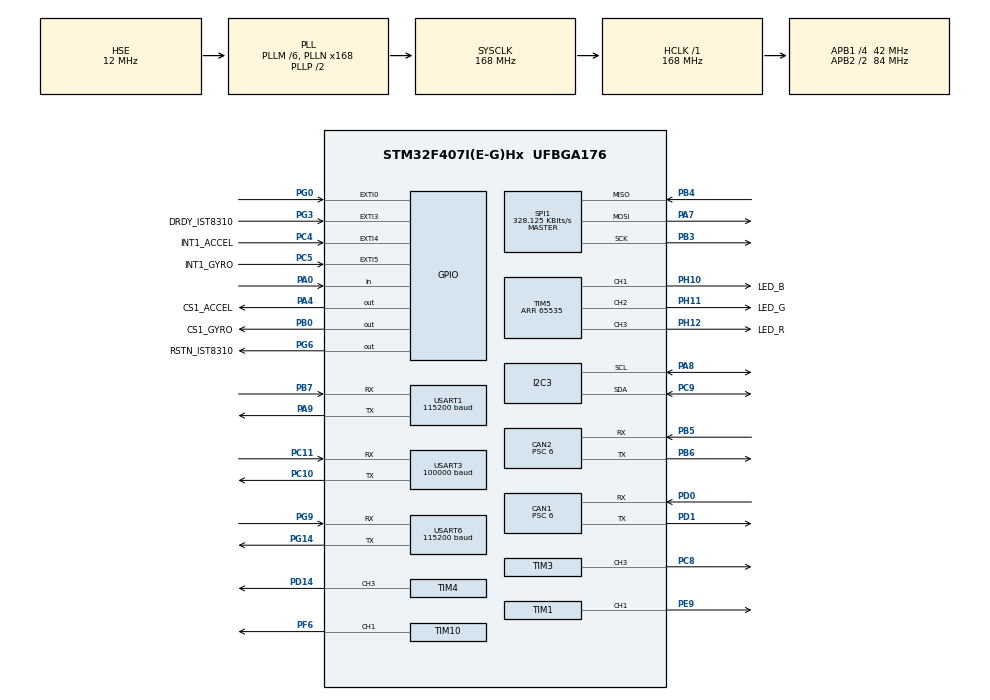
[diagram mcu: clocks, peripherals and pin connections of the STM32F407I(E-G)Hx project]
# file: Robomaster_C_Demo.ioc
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CAN1.BS1=CAN_BS1_3TQ
CAN1.BS2=CAN_BS2_3TQ
CAN1.CalculateBaudRate=1000000
CAN1.CalculateTimeBit=1000
CAN1.CalculateTimeQuantum=142.85714285714286
CAN1.Prescaler=6
CAN2.ABOM=ENABLE
CAN2.AWUM=ENABLE
CAN2.BS1=CAN_BS1_3TQ
CAN2.BS2=CAN_BS2_3TQ
CAN2.CalculateBaudRate=1000000
CAN2.CalculateTimeBit=1000
CAN2.CalculateTimeQuantum=142.85714285714286
CAN2.Prescaler=6
Dma.Request0=USART1_RX
Dma.Request1=USART6_RX
Dma.Request2=USART3_RX
Dma.Request3=USART6_TX
Dma.Request4=USART1_TX
Dma.Request5=SPI1_RX
Dma.Request6=SPI1_TX
Dma.SPI1_RX.5.Direction=DMA_PERIPH_TO_MEMORY
Dma.SPI1_RX.5.FIFOMode=DMA_FIFOMODE_DISABLE
Dma.SPI1_RX.5.Instance=DMA2_Stream2
Dma.SPI1_RX.5.MemDataAlignment=DMA_MDATAALIGN_BYTE
Dma.SPI1_RX.5.MemInc=DMA_MINC_ENABLE
Dma.SPI1_RX.5.Mode=DMA_NORMAL
Dma.SPI1_RX.5.PeriphDataAlignment=DMA_PDATAALIGN_BYTE
Dma.SPI1_RX.5.PeriphInc=DMA_PINC_DISABLE
Dma.SPI1_RX.5.Priority=DMA_PRIORITY_VERY_HIGH
Dma.SPI1_TX.6.Direction=DMA_MEMORY_TO_PERIPH
Dma.SPI1_TX.6.FIFOMode=DMA_FIFOMODE_DISABLE
Dma.SPI1_TX.6.Instance=DMA2_Stream3
Dma.SPI1_TX.6.MemDataAlignment=DMA_MDATAALIGN_BYTE
Dma.SPI1_TX.6.MemInc=DMA_MINC_ENABLE
Dma.SPI1_TX.6.Mode=DMA_NORMAL
Dma.SPI1_TX.6.PeriphDataAlignment=DMA_PDATAALIGN_BYTE
Dma.SPI1_TX.6.PeriphInc=DMA_PINC_DISABLE
Dma.SPI1_TX.6.Priority=DMA_PRIORITY_HIGH
Dma.USART1_RX.0.Direction=DMA_PERIPH_TO_MEMORY
Dma.USART1_RX.0.FIFOMode=DMA_FIFOMODE_DISABLE
Dma.USART1_RX.0.Instance=DMA2_Stream5
Dma.USART1_RX.0.MemDataAlignment=DMA_MDATAALIGN_BYTE
Dma.USART1_RX.0.MemInc=DMA_MINC_ENABLE
Dma.USART1_RX.0.Mode=DMA_NORMAL
Dma.USART1_RX.0.PeriphDataAlignment=DMA_PDATAALIGN_BYTE
Dma.USART1_RX.0.PeriphInc=DMA_PINC_DISABLE
Dma.USART1_RX.0.Priority=DMA_PRIORITY_HIGH
Dma.USART1_TX.4.Direction=DMA_MEMORY_TO_PERIPH
Dma.USART1_TX.4.FIFOMode=DMA_FIFOMODE_DISABLE
Dma.USART1_TX.4.Instance=DMA2_Stream7
Dma.USART1_TX.4.MemDataAlignment=DMA_MDATAALIGN_BYTE
Dma.USART1_TX.4.MemInc=DMA_MINC_ENABLE
Dma.USART1_TX.4.Mode=DMA_NORMAL
Dma.USART1_TX.4.PeriphDataAlignment=DMA_PDATAALIGN_BYTE
Dma.USART1_TX.4.PeriphInc=DMA_PINC_DISABLE
Dma.USART1_TX.4.Priority=DMA_PRIORITY_HIGH
Dma.USART3_RX.2.Direction=DMA_PERIPH_TO_MEMORY
Dma.USART3_RX.2.FIFOMode=DMA_FIFOMODE_DISABLE
Dma.USART3_RX.2.Instance=DMA1_Stream1
Dma.USART3_RX.2.MemDataAlignment=DMA_MDATAALIGN_BYTE
Dma.USART3_RX.2.MemInc=DMA_MINC_ENABLE
Dma.USART3_RX.2.Mode=DMA_CIRCULAR
Dma.USART3_RX.2.PeriphDataAlignment=DMA_PDATAALIGN_BYTE
Dma.USART3_RX.2.PeriphInc=DMA_PINC_DISABLE
Dma.USART3_RX.2.Priority=DMA_PRIORITY_VERY_HIGH
Dma.USART6_RX.1.Direction=DMA_PERIPH_TO_MEMORY
Dma.USART6_RX.1.FIFOMode=DMA_FIFOMODE_DISABLE
Dma.USART6_RX.1.Instance=DMA2_Stream1
Dma.USART6_RX.1.MemDataAlignment=DMA_MDATAALIGN_BYTE
Dma.USART6_RX.1.MemInc=DMA_MINC_ENABLE
Dma.USART6_RX.1.Mode=DMA_NORMAL
Dma.USART6_RX.1.PeriphDataAlignment=DMA_PDATAALIGN_BYTE
Dma.USART6_RX.1.PeriphInc=DMA_PINC_DISABLE
Dma.USART6_RX.1.Priority=DMA_PRIORITY_VERY_HIGH
Dma.USART6_TX.3.Direction=DMA_MEMORY_TO_PERIPH
Dma.USART6_TX.3.FIFOMode=DMA_FIFOMODE_DISABLE
Dma.USART6_TX.3.Instance=DMA2_Stream6
Dma.USART6_TX.3.MemDataAlignment=DMA_MDATAALIGN_BYTE
Dma.USART6_TX.3.MemInc=DMA_MINC_ENABLE
Dma.USART6_TX.3.Mode=DMA_NORMAL
Dma.USART6_TX.3.PeriphDataAlignment=DMA_PDATAALIGN_BYTE
Dma.USART6_TX.3.PeriphInc=DMA_PINC_DISABLE
Dma.USART6_TX.3.Priority=DMA_PRIORITY_VERY_HIGH
FREERTOS.INCLUDE_eTaskGetState=1
FREERTOS.INCLUDE_pcTaskGetTaskName=1
FREERTOS.INCLUDE_uxTaskGetStackHighWaterMark=1
FREERTOS.INCLUDE_vTaskCleanUpResources=1
FREERTOS.INCLUDE_vTaskDelayUntil=1
FREERTOS.INCLUDE_xEventGroupSetBitFromISR=1
FREERTOS.INCLUDE_xQueueGetMutexHolder=1
FREERTOS.INCLUDE_xSemaphoreGetMutexHolder=1
FREERTOS.INCLUDE_xTaskAbortDelay=1
FREERTOS.INCLUDE_xTaskGetCurrentTaskHandle=1
FREERTOS.INCLUDE_xTaskGetHandle=1
FREERTOS.INCLUDE_xTimerPendFunctionCall=1
FREERTOS.Tasks01=StartDebugTask,-2,128,StartDebug,Default,NULL,Dynamic,NULL,NULL;RemoteControlTa,0,512,RemoteControl,Default,NULL,Dynamic,NULL,NULL;GIM_Output_Left,2,256,GIM_OutputLeftTask,Default,NULL,Dynamic,NULL,NULL;GIM6010Init,-1,256,GIM6010InitTask,Default,NULL,Dynamic,NULL,NULL;GIM_Output_Righ,2,256,GIMOutputrightTask,Default,NULL,Dynamic,NULL,NULL;PID,1,512,PID_Task,Default,NULL,Dynamic,NULL,NULL;PwmOut,-2,256,PwmOutTask,Default,NULL,Dynamic,NULL,NULL
FREERTOS.configTOTAL_HEAP_SIZE=20000
FREERTOS.configUSE_TIMERS=1
I2C3.I2C_Mode=I2C_Fast
Mcu.Family=STM32F4
Mcu.Name=STM32F407I(E-G)Hx
Mcu.Package=UFBGA176
NVIC.CAN1_RX0_IRQn=true\:5\:0\:false\:false\:true\:true\:true\:true\:true
NVIC.CAN2_RX0_IRQn=true\:5\:0\:false\:false\:true\:true\:true\:true\:true
NVIC.DMA1_Stream1_IRQn=true\:5\:0\:false\:false\:true\:true\:false\:true\:true
NVIC.DMA2_Stream1_IRQn=true\:5\:0\:false\:false\:true\:true\:false\:true\:true
NVIC.DMA2_Stream2_IRQn=true\:5\:0\:false\:false\:false\:true\:false\:true\:true
NVIC.DMA2_Stream3_IRQn=true\:5\:0\:false\:false\:true\:true\:false\:true\:true
NVIC.DMA2_Stream5_IRQn=true\:5\:0\:false\:false\:true\:false\:false\:true\:true
NVIC.DMA2_Stream6_IRQn=true\:5\:0\:false\:false\:true\:true\:false\:true\:true
NVIC.DMA2_Stream7_IRQn=true\:5\:0\:false\:false\:true\:true\:false\:true\:true
NVIC.EXTI0_IRQn=true\:6\:0\:true\:false\:true\:true\:true\:true\:true
NVIC.EXTI3_IRQn=true\:5\:0\:false\:false\:true\:true\:true\:true\:true
NVIC.EXTI4_IRQn=true\:5\:0\:false\:false\:true\:true\:true\:true\:true
NVIC.EXTI9_5_IRQn=true\:5\:0\:false\:false\:true\:true\:true\:true\:true
NVIC.PriorityGroup=NVIC_PRIORITYGROUP_4
NVIC.TIM2_IRQn=true\:5\:0\:false\:false\:true\:true\:true\:true\:true
NVIC.TIM8_UP_TIM13_IRQn=true\:15\:0\:false\:false\:true\:false\:false\:true\:true
NVIC.TimeBase=TIM8_UP_TIM13_IRQn
NVIC.TimeBaseIP=TIM13
NVIC.USART1_IRQn=true\:5\:0\:false\:false\:true\:true\:true\:true\:true
NVIC.USART3_IRQn=true\:5\:0\:false\:false\:true\:true\:true\:true\:true
NVIC.USART6_IRQn=true\:5\:0\:false\:false\:true\:true\:true\:true\:true
PA0-WKUP.GPIO_PuPd=GPIO_PULLDOWN
PA0-WKUP.Signal=GPIO_Input
PA13.Mode=Serial_Wire
PA13.Signal=SYS_JTMS-SWDIO
PA14.Mode=Serial_Wire
PA14.Signal=SYS_JTCK-SWCLK
PA4.GPIO_Label=CS1_ACCEL
PA4.GPIO_PuPd=GPIO_PULLUP
PA4.GPIO_Speed=GPIO_SPEED_FREQ_HIGH
PA4.PinState=GPIO_PIN_SET
PA4.Signal=GPIO_Output
PA7.GPIO_PuPd=GPIO_PULLUP
PA7.Mode=Full_Duplex_Master
PA7.Signal=SPI1_MOSI
PA8.GPIO_Pu=GPIO_PULLUP
PA8.Mode=I2C
PA8.Signal=I2C3_SCL
PA9.Mode=Asynchronous
PA9.Signal=USART1_TX
PB0.GPIO_Label=CS1_GYRO
PB0.GPIO_PuPd=GPIO_PULLUP
PB0.GPIO_Speed=GPIO_SPEED_FREQ_HIGH
PB0.PinState=GPIO_PIN_SET
PB0.Signal=GPIO_Output
PB3.GPIO_PuPd=GPIO_PULLUP
PB3.Mode=Full_Duplex_Master
PB3.Signal=SPI1_SCK
PB4.GPIO_PuPd=GPIO_PULLUP
PB4.Mode=Full_Duplex_Master
PB4.Signal=SPI1_MISO
PB5.Mode=CAN_Activate
PB5.Signal=CAN2_RX
PB6.Mode=CAN_Activate
PB6.Signal=CAN2_TX
PB7.Mode=Asynchronous
PB7.Signal=USART1_RX
PC10.Mode=Asynchronous
PC10.Signal=USART3_TX
PC11.Mode=Asynchronous
PC11.Signal=USART3_RX
PC4.GPIO_Label=INT1_ACCEL
PC4.GPIO_ModeDefaultEXTI=GPIO_MODE_IT_FALLING
PC4.GPIO_PuPd=GPIO_PULLUP
PC4.Signal=GPXTI4
PC5.GPIO_Label=INT1_GYRO
PC5.GPIO_ModeDefaultEXTI=GPIO_MODE_IT_FALLING
PC5.GPIO_PuPd=GPIO_PULLUP
PC5.Signal=GPXTI5
PC8.Signal=S_TIM3_CH3
PC9.GPIO_Pu=GPIO_PULLUP
PC9.Mode=I2C
PC9.Signal=I2C3_SDA
PD0.Mode=CAN_Activate
PD0.Signal=CAN1_RX
PD1.Mode=CAN_Activate
PD1.Signal=CAN1_TX
PD14.Signal=S_TIM4_CH3
PE9.GPIO_Speed=GPIO_SPEED_FREQ_HIGH
PE9.Signal=S_TIM1_CH1
PF6.GPIO_PuPd=GPIO_PULLUP
PF6.GPIO_Speed=GPIO_SPEED_FREQ_HIGH
PF6.Signal=S_TIM10_CH1
PG0.GPIO_ModeDefaultEXTI=GPIO_MODE_IT_FALLING
PG0.GPIO_PuPd=GPIO_PULLUP
PG0.Signal=GPXTI0
PG14.Mode=Asynchronous
PG14.Signal=USART6_TX
PG3.GPIO_Label=DRDY_IST8310
PG3.GPIO_ModeDefaultEXTI=GPIO_MODE_IT_FALLING
PG3.GPIO_PuPd=GPIO_PULLUP
PG3.Signal=GPXTI3
PG6.GPIO_Label=RSTN_IST8310
PG6.GPIO_PuPd=GPIO_PULLUP
PG6.GPIO_Speed=GPIO_SPEED_FREQ_MEDIUM
PG6.PinState=GPIO_PIN_SET
PG6.Signal=GPIO_Output
PG9.Mode=Asynchronous
PG9.Signal=USART6_RX
PH0-OSC_IN.Mode=HSE-External-Oscillator
PH0-OSC_IN.Signal=RCC_OSC_IN
PH1-OSC_OUT.Mode=HSE-External-Oscillator
PH1-OSC_OUT.Signal=RCC_OSC_OUT
PH10.GPIO_Label=LED_B
PH10.GPIO_Speed=GPIO_SPEED_FREQ_HIGH
PH10.Signal=S_TIM5_CH1
PH11.GPIO_Label=LED_G
PH11.GPIO_Speed=GPIO_SPEED_FREQ_HIGH
PH11.Signal=S_TIM5_CH2
PH12.GPIO_Label=LED_R
PH12.GPIO_Speed=GPIO_SPEED_FREQ_HIGH
PH12.Signal=S_TIM5_CH3
ProjectManager.HeapSize=0x200
ProjectManager.StackSize=0x400
ProjectManager.TargetToolchain=STM32CubeIDE
RCC.48MHZClocksFreq_Value=84000000
RCC.AHBFreq_Value=168000000
RCC.APB1CLKDivider=RCC_HCLK_DIV4
RCC.APB1Freq_Value=42000000
RCC.APB1TimFreq_Value=84000000
RCC.APB2CLKDivider=RCC_HCLK_DIV2
RCC.APB2Freq_Value=84000000
RCC.APB2TimFreq_Value=168000000
RCC.CortexFreq_Value=168000000
RCC.HCLKFreq_Value=168000000
RCC.HSE_VALUE=12000000
RCC.HSI_VALUE=16000000
RCC.LSE_VALUE=32768
RCC.PLLM=6
RCC.PLLN=168
RCC.PLLSourceVirtual=RCC_PLLSOURCE_HSE
RCC.SYSCLKFreq_VALUE=168000000
RCC.SYSCLKSource=RCC_SYSCLKSOURCE_PLLCLK
RCC.VCOOutputFreq_Value=336000000
SH.S_TIM10_CH1.0=TIM10_CH1,PWM Generation1 CH1
SH.S_TIM1_CH1.0=TIM1_CH1,PWM Generation1 CH1
SH.S_TIM3_CH3.0=TIM3_CH3,PWM Generation3 CH3
SH.S_TIM4_CH3.0=TIM4_CH3,PWM Generation3 CH3
SH.S_TIM5_CH1.0=TIM5_CH1,PWM Generation1 CH1
SH.S_TIM5_CH2.0=TIM5_CH2,PWM Generation2 CH2
SH.S_TIM5_CH3.0=TIM5_CH3,PWM Generation3 CH3
SPI1.BaudRatePrescaler=SPI_BAUDRATEPRESCALER_256
SPI1.CLKPhase=SPI_PHASE_2EDGE
SPI1.CLKPolarity=SPI_POLARITY_HIGH
SPI1.CalculateBaudRate=328.125 KBits/s
SPI1.Direction=SPI_DIRECTION_2LINES
SPI1.Mode=SPI_MODE_MASTER
SPI1.VirtualType=VM_MASTER
STMicroelectronics.X-CUBE-ALGOBUILD.1.3.0.LibraryCcDSPOoLibraryJjDSPOoLibrary=true
TIM1.AutoReloadPreload=TIM_AUTORELOAD_PRELOAD_ENABLE
TIM1.Channel-PWM\ Generation1\ CH1=TIM_CHANNEL_1
TIM1.Period=2000-1
TIM1.Prescaler=1680-1
TIM10.Channel=TIM_CHANNEL_1
TIM10.Period=4999
TIM2.AutoReloadPreload=TIM_AUTORELOAD_PRELOAD_ENABLE
TIM2.Period=168-1
TIM2.Prescaler=1000-1
TIM3.Channel-PWM\ Generation3\ CH3=TIM_CHANNEL_3
TIM3.Period=1679
TIM3.Prescaler=9
TIM4.AutoReloadPreload=TIM_AUTORELOAD_PRELOAD_ENABLE
TIM4.Channel-PWM\ Generation3\ CH3=TIM_CHANNEL_3
TIM4.Period=16800-1
TIM4.Prescaler=10-1
TIM5.Channel-PWM\ Generation1\ CH1=TIM_CHANNEL_1
TIM5.Channel-PWM\ Generation2\ CH2=TIM_CHANNEL_2
TIM5.Channel-PWM\ Generation3\ CH3=TIM_CHANNEL_3
TIM5.Period=65535
USART1.BaudRate=115200
USART1.Mode=MODE_TX_RX
USART1.VirtualMode=VM_ASYNC
USART1.WordLength=WORDLENGTH_8B
USART3.BaudRate=100000
USART3.Mode=MODE_RX
USART3.Parity=PARITY_EVEN
USART3.StopBits=STOPBITS_1
USART3.VirtualMode=VM_ASYNC
USART3.WordLength=WORDLENGTH_9B
USART6.BaudRate=115200
USART6.VirtualMode=VM_ASYNC
VP_FREERTOS_VS_CMSIS_V1.Mode=CMSIS_V1
VP_STMicroelectronics.X-CUBE-ALGOBUILD_VS_DSPOoLibraryJjLibrary_1.3.0_1.3.0.Mode=DSPOoLibraryJjLibrary
VP_SYS_VS_tim13.Mode=TIM13
VP_TIM10_VS_ClockSourceINT.Mode=Enable_Timer
VP_TIM1_VS_ClockSourceINT.Mode=Internal
VP_TIM2_VS_ClockSourceINT.Mode=Internal
VP_TIM3_VS_ClockSourceINT.Mode=Internal
VP_TIM4_VS_ClockSourceINT.Mode=Internal
VP_TIM5_VS_ClockSourceINT.Mode=Internal
board=custom

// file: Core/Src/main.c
/* USER CODE BEGIN Header */
/**
  ******************************************************************************
  * @file           : main.c
  * @brief          : Main program body
  ******************************************************************************
  * @attention
  *
  * Copyright (c) 2023 STMicroelectronics.
  * All rights reserved.
  *
  * This software is licensed under terms that can be found in the LICENSE file
  * in the root directory of this software component.
  * If no LICENSE file comes with this software, it is provided AS-IS.
  *
  ******************************************************************************
  */
/* USER CODE END Header */
#include "main.h"
#include "cmsis_os.h"
#include "can.h"
#include "dma.h"
#include "i2c.h"
#include "spi.h"
#include "tim.h"
#include "usart.h"
#include "gpio.h"

void SystemClock_Config(void);
void MX_FREERTOS_Init(void);

int main(void)
{

  /* MCU Configuration--------------------------------------------------------*/

  /* Reset of all peripherals, Initializes the Flash interface and the Systick. */
  HAL_Init();

  /* Configure the system clock */
  SystemClock_Config();

  /* Initialize all configured peripherals */
  MX_GPIO_Init();
  MX_DMA_Init();
  MX_TIM3_Init();
  MX_USART1_UART_Init();
  MX_USART6_UART_Init();
  MX_CAN1_Init();
  MX_CAN2_Init();
  MX_USART3_UART_Init();
  MX_SPI1_Init();
  MX_TIM4_Init();
  MX_TIM10_Init();
  MX_TIM2_Init();
  MX_I2C3_Init();
  MX_TIM5_Init();
  MX_TIM1_Init();

  /* Call init function for freertos objects (in freertos.c) */
  MX_FREERTOS_Init();

  /* Start scheduler */
  osKernelStart();

  /* We should never get here as control is now taken by the scheduler */
  /* Infinite loop */
  while (1)
  {

  }
}

void SystemClock_Config(void)
{
  RCC_OscInitTypeDef RCC_OscInitStruct = {0};
  RCC_ClkInitTypeDef RCC_ClkInitStruct = {0};

  /** Configure the main internal regulator output voltage
  */
  __HAL_RCC_PWR_CLK_ENABLE();
  __HAL_PWR_VOLTAGESCALING_CONFIG(PWR_REGULATOR_VOLTAGE_SCALE1);

  /** Initializes the RCC Oscillators according to the specified parameters
  * in the RCC_OscInitTypeDef structure.
  */
  RCC_OscInitStruct.OscillatorType = RCC_OSCILLATORTYPE_HSE;
  RCC_OscInitStruct.HSEState = RCC_HSE_ON;
  RCC_OscInitStruct.PLL.PLLState = RCC_PLL_ON;
  RCC_OscInitStruct.PLL.PLLSource = RCC_PLLSOURCE_HSE;
  RCC_OscInitStruct.PLL.PLLM = 6;
  RCC_OscInitStruct.PLL.PLLN = 168;
  RCC_OscInitStruct.PLL.PLLP = RCC_PLLP_DIV2;
  RCC_OscInitStruct.PLL.PLLQ = 4;
  if (HAL_RCC_OscConfig(&RCC_OscInitStruct) != HAL_OK)
  {
    Error_Handler();
  }

  /** Initializes the CPU, AHB and APB buses clocks
  */
  RCC_ClkInitStruct.ClockType = RCC_CLOCKTYPE_HCLK|RCC_CLOCKTYPE_SYSCLK
                              |RCC_CLOCKTYPE_PCLK1|RCC_CLOCKTYPE_PCLK2;
  RCC_ClkInitStruct.SYSCLKSource = RCC_SYSCLKSOURCE_PLLCLK;
  RCC_ClkInitStruct.AHBCLKDivider = RCC_SYSCLK_DIV1;
  RCC_ClkInitStruct.APB1CLKDivider = RCC_HCLK_DIV4;
  RCC_ClkInitStruct.APB2CLKDivider = RCC_HCLK_DIV2;

  if (HAL_RCC_ClockConfig(&RCC_ClkInitStruct, FLASH_LATENCY_5) != HAL_OK)
  {
    Error_Handler();
  }
}

void HAL_TIM_PeriodElapsedCallback(TIM_HandleTypeDef *htim)
{
  if (htim->Instance == TIM13) {
    HAL_IncTick();
  }
}

void Error_Handler(void)
{
  __disable_irq();
  while (1)
  {
  }
}

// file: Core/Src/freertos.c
/* USER CODE BEGIN Header */
/**
  ******************************************************************************
  * File Name          : freertos.c
  * Description        : Code for freertos applications
  ******************************************************************************
  * @attention
  *
  * Copyright (c) 2023 STMicroelectronics.
  * All rights reserved.
  *
  * This software is licensed under terms that can be found in the LICENSE file
  * in the root directory of this software component.
  * If no LICENSE file comes with this software, it is provided AS-IS.
  *
  ******************************************************************************
  */
/* USER CODE END Header */

#include "FreeRTOS.h"
#include "task.h"
#include "main.h"
#include "cmsis_os.h"

/* USER CODE BEGIN Includes */
#include "imu.h"
#include "led_flow_task.h"
#include "Screen.h"
#include "Subordinate_Desk.h"
/* USER CODE END Includes */

/* USER CODE BEGIN PTD */
osThreadId imuTaskHandle;
osThreadId led_RGB_flow_handle;
/* USER CODE END PTD */

/* USER CODE BEGIN PM */
uint8_t standup_flag = 0;
/* USER CODE END PM */

/* USER CODE BEGIN Variables */
fp32 gyro[3];
fp32 accel[3];
fp32 temp;

/* USER CODE END Variables */
osThreadId StartDebugTaskHandle;
osThreadId RemoteControlTaHandle;
osThreadId GIM_Output_LeftHandle;
osThreadId GIM6010InitHandle;
osThreadId GIM_Output_RighHandle;
osThreadId PIDHandle;
osThreadId PwmOutHandle;

void StartDebug(void const * argument);
void RemoteControl(void const * argument);
void GIM_OutputLeftTask(void const * argument);
void GIM6010InitTask(void const * argument);
void GIMOutputrightTask(void const * argument);
void PID_Task(void const * argument);
void PwmOutTask(void const * argument);

void MX_FREERTOS_Init(void); /* (MISRA C 2004 rule 8.1) */

/* GetIdleTaskMemory prototype (linked to static allocation support) */
void vApplicationGetIdleTaskMemory( StaticTask_t **ppxIdleTaskTCBBuffer, StackType_t **ppxIdleTaskStackBuffer, uint32_t *pulIdleTaskStackSize );

/* GetTimerTaskMemory prototype (linked to static allocation support) */
void vApplicationGetTimerTaskMemory( StaticTask_t **ppxTimerTaskTCBBuffer, StackType_t **ppxTimerTaskStackBuffer, uint32_t *pulTimerTaskStackSize );

/* USER CODE BEGIN GET_IDLE_TASK_MEMORY */
static StaticTask_t xIdleTaskTCBBuffer;
static StackType_t xIdleStack[configMINIMAL_STACK_SIZE];

void vApplicationGetIdleTaskMemory( StaticTask_t **ppxIdleTaskTCBBuffer, StackType_t **ppxIdleTaskStackBuffer, uint32_t *pulIdleTaskStackSize )
{
  *ppxIdleTaskTCBBuffer = &xIdleTaskTCBBuffer;
  *ppxIdleTaskStackBuffer = &xIdleStack[0];
  *pulIdleTaskStackSize = configMINIMAL_STACK_SIZE;
  /* place for user code */
}
/* USER CODE END GET_IDLE_TASK_MEMORY */

/* USER CODE BEGIN GET_TIMER_TASK_MEMORY */
static StaticTask_t xTimerTaskTCBBuffer;
static StackType_t xTimerStack[configTIMER_TASK_STACK_DEPTH];

void vApplicationGetTimerTaskMemory( StaticTask_t **ppxTimerTaskTCBBuffer, StackType_t **ppxTimerTaskStackBuffer, uint32_t *pulTimerTaskStackSize )
{
  *ppxTimerTaskTCBBuffer = &xTimerTaskTCBBuffer;
  *ppxTimerTaskStackBuffer = &xTimerStack[0];
  *pulTimerTaskStackSize = configTIMER_TASK_STACK_DEPTH;
  /* place for user code */
}
/* USER CODE END GET_TIMER_TASK_MEMORY */

void MX_FREERTOS_Init(void) {

  /* Create the thread(s) */
  /* definition and creation of StartDebugTask */
  osThreadDef(StartDebugTask, StartDebug, osPriorityLow, 0, 128);
  StartDebugTaskHandle = osThreadCreate(osThread(StartDebugTask), NULL);

  /* definition and creation of RemoteControlTa */
  osThreadDef(RemoteControlTa, RemoteControl, osPriorityNormal, 0, 512);
  RemoteControlTaHandle = osThreadCreate(osThread(RemoteControlTa), NULL);

  /* definition and creation of GIM_Output_Left */
  osThreadDef(GIM_Output_Left, GIM_OutputLeftTask, osPriorityHigh, 0, 256);
  GIM_Output_LeftHandle = osThreadCreate(osThread(GIM_Output_Left), NULL);

  /* definition and creation of GIM6010Init */
  osThreadDef(GIM6010Init, GIM6010InitTask, osPriorityBelowNormal, 0, 256);
  GIM6010InitHandle = osThreadCreate(osThread(GIM6010Init), NULL);

  /* definition and creation of GIM_Output_Righ */
  osThreadDef(GIM_Output_Righ, GIMOutputrightTask, osPriorityHigh, 0, 256);
  GIM_Output_RighHandle = osThreadCreate(osThread(GIM_Output_Righ), NULL);

  /* definition and creation of PID */
  osThreadDef(PID, PID_Task, osPriorityAboveNormal, 0, 512);
  PIDHandle = osThreadCreate(osThread(PID), NULL);

  /* definition and creation of PwmOut */
  osThreadDef(PwmOut, PwmOutTask, osPriorityLow, 0, 256);
  PwmOutHandle = osThreadCreate(osThread(PwmOut), NULL);

  /* USER CODE BEGIN RTOS_THREADS */
  /* add threads, ... */
    osThreadDef(imuTask, INS_task, osPriorityRealtime, 0, 1024);
    imuTaskHandle = osThreadCreate(osThread(imuTask), NULL);

    osThreadDef(led, led_RGB_flow_task, osPriorityNormal, 0, 256);
    led_RGB_flow_handle = osThreadCreate(osThread(led), NULL);

    vTaskResume(StartDebugTaskHandle);
    vTaskSuspend(GIM_Output_LeftHandle);
    vTaskSuspend(GIM_Output_RighHandle);
    vTaskSuspend(PIDHandle);
    vTaskSuspend(RemoteControlTaHandle);
    vTaskSuspend(GIM6010InitHandle);
  /* USER CODE END RTOS_THREADS */

}

void StartDebug(void const * argument)
{
  /* USER CODE BEGIN StartDebug */
    Mymain_Init();

    vTaskResume(GIM6010InitHandle);
  /* Infinite loop */
  for(;;)
  {
      osDelay(1000);
  }
  /* USER CODE END StartDebug */
}

void RemoteControl(void const * argument)
{
  /* USER CODE BEGIN RemoteControl */
    remote_control_init();

    RC_ctrl_t *local_rc_ctrl;
    local_rc_ctrl = get_remote_control_point();
  /* Infinite loop */
  for(;;)
  {
      /*************
       *    遥控器只有左方拨档开关有用，最上方一档为蹲伏即上电状态，中间档为直立
       *    下方档为运动开关，右方摇杆为控制运动
       *
       ****************/
      Posture_Controller(local_rc_ctrl);
      usart_printf("%d,%d\n",Desk_Data[3],Desk_Data[1]);
      osDelay(1);
  }
  /* USER CODE END RemoteControl */
}

void GIM_OutputLeftTask(void const * argument)
{
  /* USER CODE BEGIN GIM_OutputLeftTask */
  /* Infinite loop */
  for(;;)
  {
      Leg_Output('l');

    osDelay(1);
  }
  /* USER CODE END GIM_OutputLeftTask */
}

void GIM6010InitTask(void const * argument)
{
  /* USER CODE BEGIN GIM6010InitTask */

//    Turn_AllMotor_to_USB();
    Motor_Init();

    Eight_PID_Init();
    ChangeGainOfPID(15.0f,5.0f,4.0f,0.1f);//输出化PID

    osDelay(1000);

    Read_beginPos(); //读取电机上电时候的初始位置

    vTaskResume(PIDHandle);
    vTaskResume(RemoteControlTaHandle);
    vTaskResume(GIM_Output_LeftHandle);
    vTaskResume(GIM_Output_RighHandle);

    vTaskSuspend(NULL);
  /* Infinite loop */
  for(;;)
  {
    osDelay(1);
  }
  /* USER CODE END GIM6010InitTask */
}

void GIMOutputrightTask(void const * argument)
{
  /* USER CODE BEGIN GIMOutputrightTask */
  /* Infinite loop */
  for(;;)
  {
      Leg_Output('r');

    osDelay(1);
  }
  /* USER CODE END GIMOutputrightTask */
}

void PID_Task(void const * argument)
{
  /* USER CODE BEGIN PID_Task */
  /* Infinite loop */
  for(;;)
  {
      for(uint8_t id = 1;id < 9;id ++)
      {
          if(LieDown_flag == 0)
          {
              SetPoint(&AngleLoop[id], AngleWant_MotorX[id], id);
              PID_PosLocCalc(&AngleLoop[id], GIM6010[id].data_pos - begin_pos[id], id);
          }
          else if(LieDown_flag == 1)
          {
              SetPoint(&AngleLoop[id], AngleWant_MotorX[id], id);
              PID_PosLocCalc(&AngleLoop[id], GIM6010[id].data_pos, id);
          }
      }

      osDelay(2);
  }
  /* USER CODE END PID_Task */
}

void PwmOutTask(void const * argument)
{
  /* USER CODE BEGIN PwmOutTask */
  /* Infinite loop */
  for(;;)
  {
      Process();

    osDelay(500);
  }
  /* USER CODE END PwmOutTask */
}
